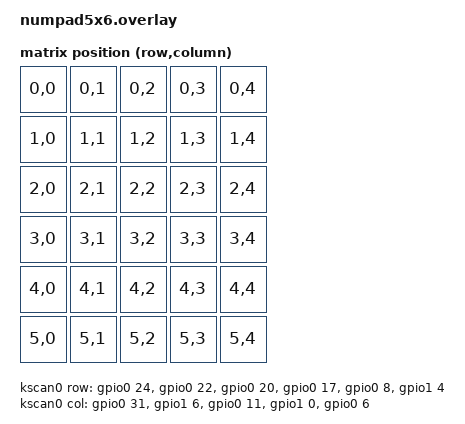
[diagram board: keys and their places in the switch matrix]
/*
 * SPDX-License-Identifier: MIT
 */

#include <dt-bindings/zmk/matrix_transform.h>

/ {
    chosen {
        zmk,kscan = &kscan0;
        zmk,matrix-transform = &default_transform;
        zmk,display = &oled;
    };

    default_transform: keymap_transform_0 {
        compatible = "zmk,matrix-transform";
        columns = <5>;
        rows = <6>;

        map = <
            RC(0,0) RC(0,1) RC(0,2) RC(0,3) RC(0,4)
            RC(1,0) RC(1,1) RC(1,2) RC(1,3) RC(1,4)
            RC(2,0) RC(2,1) RC(2,2) RC(2,3) RC(2,4)
            RC(3,0) RC(3,1) RC(3,2) RC(3,3) RC(3,4)
            RC(4,0) RC(4,1) RC(4,2) RC(4,3) RC(4,4)
            RC(5,0) RC(5,1) RC(5,2) RC(5,3) RC(5,4)
        >;
    };

    kscan0: kscan_0 {
        compatible = "zmk,kscan-gpio-matrix";
        wakeup-source;
        diode-direction = "col2row";

        col-gpios =
            <&gpio0 31 GPIO_ACTIVE_HIGH>,
            <&gpio1 6  GPIO_ACTIVE_HIGH>,
            <&gpio0 11 GPIO_ACTIVE_HIGH>,
            <&gpio1 0  GPIO_ACTIVE_HIGH>,
            <&gpio0 6  GPIO_ACTIVE_HIGH>;

        row-gpios =
            <&gpio0 24 (GPIO_ACTIVE_HIGH | GPIO_PULL_DOWN)>,
            <&gpio0 22 (GPIO_ACTIVE_HIGH | GPIO_PULL_DOWN)>,
            <&gpio0 20 (GPIO_ACTIVE_HIGH | GPIO_PULL_DOWN)>,
            <&gpio0 17 (GPIO_ACTIVE_HIGH | GPIO_PULL_DOWN)>,
            <&gpio0 8  (GPIO_ACTIVE_HIGH | GPIO_PULL_DOWN)>,
            <&gpio1 4  (GPIO_ACTIVE_HIGH | GPIO_PULL_DOWN)>;
    };

    &i2c0 {
        status = "okay";
        clock-frequency = <I2C_BITRATE_FAST>;

        oled: ssd1306@3c {
            compatible = "solomon,ssd1306fb";
            reg = <0x3c>;
            width = <128>;
            height = <32>;
        };
    };
};
